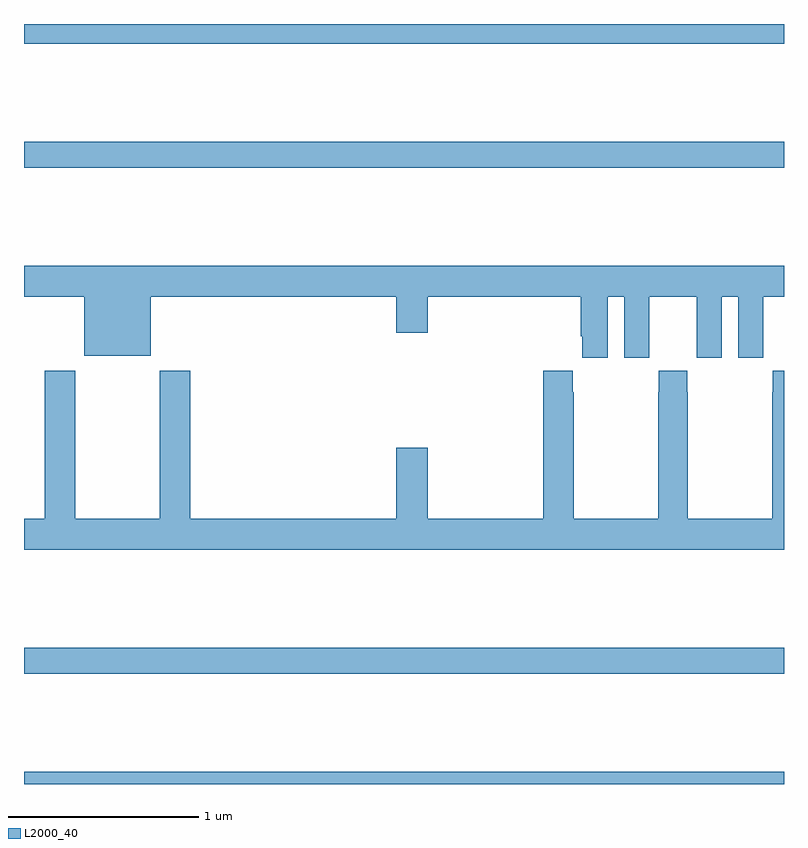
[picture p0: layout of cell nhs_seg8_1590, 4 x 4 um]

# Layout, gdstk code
import gdstk
lib = gdstk.Library(unit=1e-6, precision=1e-09)
def R(c, l, rs):  # rectangles x0, y0, x1, y1
    for r in rs: c.add(gdstk.rectangle(r[:2], r[2:], *l))
def P(c, l, *ps):  # polygons
    for p in ps: c.add(gdstk.Polygon(p, *l))
L2000_40 = (2000, 40)

nhs_seg8_1590 = lib.new_cell('nhs_seg8_1590')
R(nhs_seg8_1590, L2000_40, [(211,1149.9,215,1149.964), (211,1150.48,215,1150.616), (211,1153.144,215,1153.28), (211,1153.796,215,1153.9)])
P(nhs_seg8_1590, L2000_40, [(214.072,1152.464),(214.16,1152.464),(214.16,1152.144),(214.29,1152.144),(214.29,1152.256),(214.291,1152.256),(214.291,1152.464),(214.541,1152.464),(214.541,1152.256),(214.542,1152.256),(214.542,1152.144),(214.672,1152.144),(214.672,1152.464),(214.76,1152.464),(214.76,1152.144),(214.89,1152.144),(214.89,1152.256),(214.891,1152.256),(214.891,1152.464),(215,1152.464),(215,1152.628),(211,1152.628),(211,1152.464),(211.316,1152.464),(211.316,1152.155),(211.666,1152.155),(211.666,1152.464),(212.96,1152.464),(212.96,1152.276),(213.124,1152.276),(213.124,1152.464),(213.929,1152.464),(213.929,1152.256),(213.938,1152.256),(213.938,1152.144),(214.072,1152.144)],
  [(215,1152.076),(214.941,1152.076),(214.941,1151.963),(214.939,1151.963),(214.939,1151.296),(214.494,1151.296),(214.494,1151.963),(214.491,1151.963),(214.491,1152.076),(214.341,1152.076),(214.341,1151.963),(214.339,1151.963),(214.339,1151.296),(213.894,1151.296),(213.894,1151.963),(213.887,1151.963),(213.887,1152.076),(213.734,1152.076),(213.734,1151.296),(213.124,1151.296),(213.124,1151.671),(212.96,1151.671),(212.96,1151.296),(211.874,1151.296),(211.874,1152.076),(211.714,1152.076),(211.714,1151.296),(211.269,1151.296),(211.269,1152.076),(211.109,1152.076),(211.109,1151.296),(211,1151.296),(211,1151.132),(215,1151.132)])

lib.write_gds('nhs_seg8_1590.gds')
